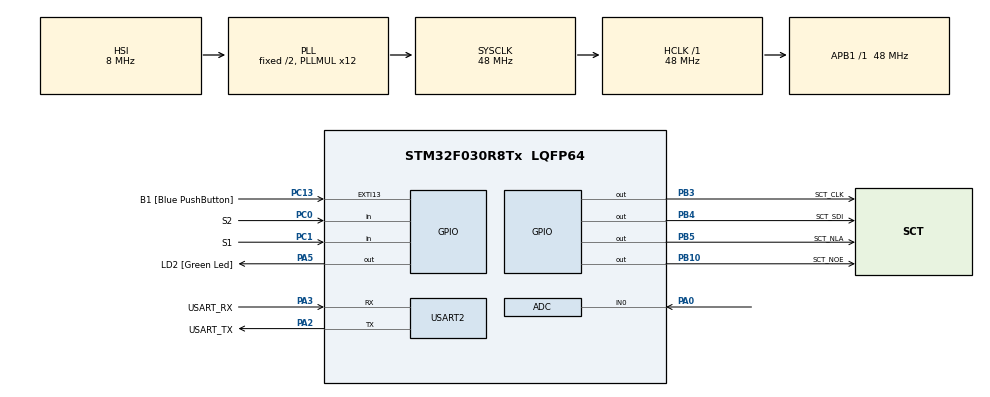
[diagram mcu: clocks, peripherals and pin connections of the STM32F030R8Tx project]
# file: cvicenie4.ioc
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ADC.ContinuousConvMode=ENABLE
ADC.Overrun=ADC_OVR_DATA_OVERWRITTEN
ADC.SamplingTime=ADC_SAMPLETIME_239CYCLES_5
Mcu.Family=STM32F0
Mcu.Name=STM32F030R8Tx
Mcu.Package=LQFP64
NVIC.ADC1_IRQn=true\:0\:0\:false\:false\:true\:true\:true
PA0.Mode=IN0
PA0.Signal=ADC_IN0
PA13.GPIO_Label=TMS
PA13.Mode=Serial_Wire
PA13.Signal=SYS_SWDIO
PA14.GPIO_Label=TCK
PA14.Mode=Serial_Wire
PA14.Signal=SYS_SWCLK
PA2.GPIO_Label=USART_TX
PA2.GPIO_Mode=GPIO_MODE_AF_PP
PA2.GPIO_PuPd=GPIO_NOPULL
PA2.GPIO_Speed=GPIO_SPEED_FREQ_LOW
PA2.Mode=Asynchronous
PA2.Signal=USART2_TX
PA3.GPIO_Label=USART_RX
PA3.GPIO_Mode=GPIO_MODE_AF_PP
PA3.GPIO_PuPd=GPIO_NOPULL
PA3.GPIO_Speed=GPIO_SPEED_FREQ_LOW
PA3.Mode=Asynchronous
PA3.Signal=USART2_RX
PA5.GPIO_Label=LD2 [Green Led]
PA5.GPIO_Mode=GPIO_MODE_OUTPUT_PP
PA5.GPIO_PuPd=GPIO_NOPULL
PA5.GPIO_Speed=GPIO_SPEED_FREQ_LOW
PA5.Signal=GPIO_Output
PB10.GPIO_Label=SCT_NOE
PB10.Signal=GPIO_Output
PB3.GPIO_Label=SCT_CLK
PB3.Signal=GPIO_Output
PB4.GPIO_Label=SCT_SDI
PB4.Signal=GPIO_Output
PB5.GPIO_Label=SCT_NLA
PB5.Signal=GPIO_Output
PC0.GPIO_Label=S2
PC0.GPIO_PuPd=GPIO_PULLUP
PC0.Signal=GPIO_Input
PC1.GPIO_Label=S1
PC1.GPIO_PuPd=GPIO_PULLUP
PC1.Signal=GPIO_Input
PC13.GPIO_Label=B1 [Blue PushButton]
PC13.GPIO_ModeDefaultEXTI=GPIO_MODE_IT_FALLING
PC13.Signal=GPXTI13
PC14-OSC32_IN.Mode=LSE-External-Oscillator
PC14-OSC32_IN.Signal=RCC_OSC32_IN
PC15-OSC32_OUT.Mode=LSE-External-Oscillator
PC15-OSC32_OUT.Signal=RCC_OSC32_OUT
PF0-OSC_IN.Mode=HSE-External-Clock-Source
PF0-OSC_IN.Signal=RCC_OSC_IN
PF1-OSC_OUT.Signal=RCC_OSC_OUT
ProjectManager.HeapSize=0x200
ProjectManager.StackSize=0x400
ProjectManager.TargetToolchain=STM32CubeIDE
RCC.AHBFreq_Value=48000000
RCC.APB1Freq_Value=48000000
RCC.APB1TimFreq_Value=48000000
RCC.HCLKFreq_Value=48000000
RCC.PLLMUL=RCC_PLL_MUL12
RCC.SYSCLKFreq_VALUE=48000000
RCC.SYSCLKSource=RCC_SYSCLKSOURCE_PLLCLK
USART2.VirtualMode-Asynchronous=VM_ASYNC
VP_ADC_TempSens_Input.Mode=IN-TempSens
VP_ADC_Vref_Input.Mode=IN-Vrefint
board=NUCLEO-F030R8

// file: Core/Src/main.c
/* USER CODE BEGIN Header */
/**
  ******************************************************************************
  * @file           : main.c
  * @brief          : Main program body
  ******************************************************************************
  * @attention
  *
  * <h2><center>&copy; Copyright (c) 2021 STMicroelectronics.
  * All rights reserved.</center></h2>
  *
  * This software component is licensed by ST under BSD 3-Clause license,
  * the "License"; You may not use this file except in compliance with the
  * License. You may obtain a copy of the License at:
  *                        opensource.org/licenses/BSD-3-Clause
  *
  ******************************************************************************
  */
/* USER CODE END Header */
#include "main.h"

/* USER CODE BEGIN Includes */
#include "sct.h"
/* USER CODE END Includes */

/* USER CODE BEGIN PD */
#define ADC_Q 14

#define TEMP110_CAL_ADDR ((uint16_t*) ((uint32_t) 0x1FFFF7C2))
#define TEMP30_CAL_ADDR ((uint16_t*) ((uint32_t) 0x1FFFF7B8))
#define VREFINT_CAL_ADDR ((uint16_t*) ((uint32_t) 0x1FFFF7BA))

#define BUTTON_DEBOUNCE 100
#define SHOW_PERIOD 1000

/* USER CODE END PD */

ADC_HandleTypeDef hadc;

UART_HandleTypeDef huart2;

/* USER CODE BEGIN PV */
static volatile uint32_t raw_pot;
static volatile uint32_t raw_temp;
static volatile uint32_t raw_volt;
/* USER CODE END PV */

void SystemClock_Config(void);
static void MX_GPIO_Init(void);
static void MX_USART2_UART_Init(void);
static void MX_ADC_Init(void);

/* USER CODE BEGIN 0 */
void HAL_ADC_ConvCpltCallback(ADC_HandleTypeDef* hadc)
{
	static uint8_t channel = 0;

	if(channel == 0)
	{
		static uint32_t avg_pot;

		 raw_pot = avg_pot >> ADC_Q;
		 avg_pot -= raw_pot;
		 avg_pot += HAL_ADC_GetValue(hadc);
		 channel++;
	}
	else if (channel == 1) {

		raw_temp = HAL_ADC_GetValue(hadc);
		channel++;

	}
	else if (channel == 2) {

			raw_volt = HAL_ADC_GetValue(hadc);
			channel = 0;

		}
}

uint8_t Buttons(void){
	static uint32_t debounce = 0;
	static uint32_t btnout = 0;
	static uint32_t old_s1, old_s2;

	if (HAL_GetTick()>debounce + BUTTON_DEBOUNCE){
		 uint32_t new_s1 = HAL_GPIO_ReadPin (S1_GPIO_Port,S1_Pin);
		 uint32_t new_s2 = HAL_GPIO_ReadPin (S2_GPIO_Port,S2_Pin);

		 if(old_s1 && !new_s1){
			 btnout |= 0x1;
		 }
		 else{
			 btnout &= -0x1;
		 }
		 if(old_s2 && !new_s2){
			 btnout |= 0x2;
		 }
		 else{
			 btnout &= -0x2;
		 }

		 old_s1 = new_s1;
		 old_s2 = new_s2;

		 debounce = HAL_GetTick();
	}

	return btnout;
}
/* USER CODE END 0 */

int main(void)
{

  /* MCU Configuration--------------------------------------------------------*/

  /* Reset of all peripherals, Initializes the Flash interface and the Systick. */
  HAL_Init();

  /* Configure the system clock */
  SystemClock_Config();

  /* Initialize all configured peripherals */
  MX_GPIO_Init();
  MX_USART2_UART_Init();
  MX_ADC_Init();
  /* USER CODE BEGIN 2 */

  sct_init();

  HAL_ADCEx_Calibration_Start(&hadc);
  HAL_ADC_Start_IT(&hadc);

  uint32_t tim_default = HAL_GetTick();

  /* USER CODE END 2 */

  /* Infinite loop */
  while (1)
  {

    /* USER CODE BEGIN 3 */
	  static enum { SHOW_POT, SHOW_VOLT,SHOW_TEMP} state = SHOW_POT;
	  uint8_t btn = Buttons(); // číta stav tlačidla

	  if(btn == 0x1){
	  			 state = SHOW_VOLT;
	  			 tim_default = HAL_GetTick();
	  		 }
	  else if (btn = 0x02){
		  	  	  state = SHOW_TEMP;
		  	  	  tim_default = HAL_GetTick();
	  }

	  switch(state){
	  	  case SHOW_POT:
	  		  sct_value (raw_pot * 500/4096, raw_pot * 9/4096);
	  		  break;
	  	  case SHOW_VOLT:
	  		  sct_value (330* (*VREFINT_CAL_ADDR) / raw_volt, raw_volt * 9/4096);
	  		  break;

	  }
	  	/*uint32_t disp_value = raw_pot * 500/4096;
	  	  uint32_t led_value = raw_pot * 9/4096;

	  	  sct_value (disp_value, led_value);
	  	  HAL_Delay(50);*/
  }
  /* USER CODE END 3 */
}

void SystemClock_Config(void)
{
  RCC_OscInitTypeDef RCC_OscInitStruct = {0};
  RCC_ClkInitTypeDef RCC_ClkInitStruct = {0};

  /** Initializes the RCC Oscillators according to the specified parameters
  * in the RCC_OscInitTypeDef structure.
  */
  RCC_OscInitStruct.OscillatorType = RCC_OSCILLATORTYPE_HSI|RCC_OSCILLATORTYPE_HSI14;
  RCC_OscInitStruct.HSIState = RCC_HSI_ON;
  RCC_OscInitStruct.HSI14State = RCC_HSI14_ON;
  RCC_OscInitStruct.HSICalibrationValue = RCC_HSICALIBRATION_DEFAULT;
  RCC_OscInitStruct.HSI14CalibrationValue = 16;
  RCC_OscInitStruct.PLL.PLLState = RCC_PLL_ON;
  RCC_OscInitStruct.PLL.PLLSource = RCC_PLLSOURCE_HSI;
  RCC_OscInitStruct.PLL.PLLMUL = RCC_PLL_MUL12;
  RCC_OscInitStruct.PLL.PREDIV = RCC_PREDIV_DIV1;
  if (HAL_RCC_OscConfig(&RCC_OscInitStruct) != HAL_OK)
  {
    Error_Handler();
  }
  /** Initializes the CPU, AHB and APB buses clocks
  */
  RCC_ClkInitStruct.ClockType = RCC_CLOCKTYPE_HCLK|RCC_CLOCKTYPE_SYSCLK
                              |RCC_CLOCKTYPE_PCLK1;
  RCC_ClkInitStruct.SYSCLKSource = RCC_SYSCLKSOURCE_PLLCLK;
  RCC_ClkInitStruct.AHBCLKDivider = RCC_SYSCLK_DIV1;
  RCC_ClkInitStruct.APB1CLKDivider = RCC_HCLK_DIV1;

  if (HAL_RCC_ClockConfig(&RCC_ClkInitStruct, FLASH_LATENCY_1) != HAL_OK)
  {
    Error_Handler();
  }
}

static void MX_ADC_Init(void)
{

  ADC_ChannelConfTypeDef sConfig = {0};

  /** Configure the global features of the ADC (Clock, Resolution, Data Alignment and number of conversion)
  */
  hadc.Instance = ADC1;
  hadc.Init.ClockPrescaler = ADC_CLOCK_ASYNC_DIV1;
  hadc.Init.Resolution = ADC_RESOLUTION_12B;
  hadc.Init.DataAlign = ADC_DATAALIGN_RIGHT;
  hadc.Init.ScanConvMode = ADC_SCAN_DIRECTION_FORWARD;
  hadc.Init.EOCSelection = ADC_EOC_SINGLE_CONV;
  hadc.Init.LowPowerAutoWait = DISABLE;
  hadc.Init.LowPowerAutoPowerOff = DISABLE;
  hadc.Init.ContinuousConvMode = ENABLE;
  hadc.Init.DiscontinuousConvMode = DISABLE;
  hadc.Init.ExternalTrigConv = ADC_SOFTWARE_START;
  hadc.Init.ExternalTrigConvEdge = ADC_EXTERNALTRIGCONVEDGE_NONE;
  hadc.Init.DMAContinuousRequests = DISABLE;
  hadc.Init.Overrun = ADC_OVR_DATA_OVERWRITTEN;
  if (HAL_ADC_Init(&hadc) != HAL_OK)
  {
    Error_Handler();
  }
  /** Configure for the selected ADC regular channel to be converted.
  */
  sConfig.Channel = ADC_CHANNEL_0;
  sConfig.Rank = ADC_RANK_CHANNEL_NUMBER;
  sConfig.SamplingTime = ADC_SAMPLETIME_239CYCLES_5;
  if (HAL_ADC_ConfigChannel(&hadc, &sConfig) != HAL_OK)
  {
    Error_Handler();
  }
  /** Configure for the selected ADC regular channel to be converted.
  */
  sConfig.Channel = ADC_CHANNEL_TEMPSENSOR;
  if (HAL_ADC_ConfigChannel(&hadc, &sConfig) != HAL_OK)
  {
    Error_Handler();
  }
  /** Configure for the selected ADC regular channel to be converted.
  */
  sConfig.Channel = ADC_CHANNEL_VREFINT;
  if (HAL_ADC_ConfigChannel(&hadc, &sConfig) != HAL_OK)
  {
    Error_Handler();
  }

}

static void MX_USART2_UART_Init(void)
{

  huart2.Instance = USART2;
  huart2.Init.BaudRate = 38400;
  huart2.Init.WordLength = UART_WORDLENGTH_8B;
  huart2.Init.StopBits = UART_STOPBITS_1;
  huart2.Init.Parity = UART_PARITY_NONE;
  huart2.Init.Mode = UART_MODE_TX_RX;
  huart2.Init.HwFlowCtl = UART_HWCONTROL_NONE;
  huart2.Init.OverSampling = UART_OVERSAMPLING_16;
  huart2.Init.OneBitSampling = UART_ONE_BIT_SAMPLE_DISABLE;
  huart2.AdvancedInit.AdvFeatureInit = UART_ADVFEATURE_NO_INIT;
  if (HAL_UART_Init(&huart2) != HAL_OK)
  {
    Error_Handler();
  }

}

static void MX_GPIO_Init(void)
{
  GPIO_InitTypeDef GPIO_InitStruct = {0};

  /* GPIO Ports Clock Enable */
  __HAL_RCC_GPIOC_CLK_ENABLE();
  __HAL_RCC_GPIOF_CLK_ENABLE();
  __HAL_RCC_GPIOA_CLK_ENABLE();
  __HAL_RCC_GPIOB_CLK_ENABLE();

  /*Configure GPIO pin Output Level */
  HAL_GPIO_WritePin(LD2_GPIO_Port, LD2_Pin, GPIO_PIN_RESET);

  /*Configure GPIO pin Output Level */
  HAL_GPIO_WritePin(GPIOB, SCT_NOE_Pin|SCT_CLK_Pin|SCT_SDI_Pin|SCT_NLA_Pin, GPIO_PIN_RESET);

  /*Configure GPIO pin : B1_Pin */
  GPIO_InitStruct.Pin = B1_Pin;
  GPIO_InitStruct.Mode = GPIO_MODE_IT_FALLING;
  GPIO_InitStruct.Pull = GPIO_NOPULL;
  HAL_GPIO_Init(B1_GPIO_Port, &GPIO_InitStruct);

  /*Configure GPIO pins : S2_Pin S1_Pin */
  GPIO_InitStruct.Pin = S2_Pin|S1_Pin;
  GPIO_InitStruct.Mode = GPIO_MODE_INPUT;
  GPIO_InitStruct.Pull = GPIO_PULLUP;
  HAL_GPIO_Init(GPIOC, &GPIO_InitStruct);

  /*Configure GPIO pin : LD2_Pin */
  GPIO_InitStruct.Pin = LD2_Pin;
  GPIO_InitStruct.Mode = GPIO_MODE_OUTPUT_PP;
  GPIO_InitStruct.Pull = GPIO_NOPULL;
  GPIO_InitStruct.Speed = GPIO_SPEED_FREQ_LOW;
  HAL_GPIO_Init(LD2_GPIO_Port, &GPIO_InitStruct);

  /*Configure GPIO pins : SCT_NOE_Pin SCT_CLK_Pin SCT_SDI_Pin SCT_NLA_Pin */
  GPIO_InitStruct.Pin = SCT_NOE_Pin|SCT_CLK_Pin|SCT_SDI_Pin|SCT_NLA_Pin;
  GPIO_InitStruct.Mode = GPIO_MODE_OUTPUT_PP;
  GPIO_InitStruct.Pull = GPIO_NOPULL;
  GPIO_InitStruct.Speed = GPIO_SPEED_FREQ_LOW;
  HAL_GPIO_Init(GPIOB, &GPIO_InitStruct);

}

void Error_Handler(void)
{
  __disable_irq();
  while (1)
  {
  }
}

/************************ (C) COPYRIGHT STMicroelectronics *****END OF FILE****/
